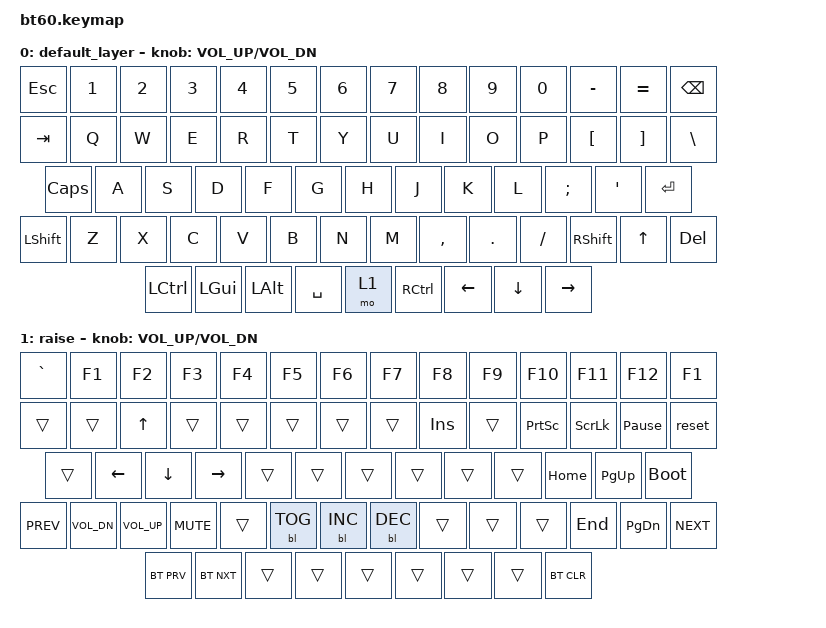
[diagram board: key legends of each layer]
#include <behaviors.dtsi>
#include <dt-bindings/zmk/keys.h>
#include <dt-bindings/zmk/bt.h>
#include <dt-bindings/zmk/backlight.h>

/ {
	keymap {
		compatible = "zmk,keymap";

		default_layer {
				// ------------------------------------------------------------------------------------------
				// | ESC |  1  |  2  |  3  |  4  |  5  |  6  |  7  |  8  |  9  |  0  |  -  |  =  |   BKSP   |
				// | TAB  |  Q  |  W  |  E  |  R  |  T  |  Y  |  U  |  I  |  O  |  P  |  [  |  ]  |   "|"   |
				// | CAPS  |  A  |  S  |  D  |  F  |  G  |  H  |  J  |  K  |  L  |  ;  |  '  |     ENTER    |
				// |  SHIFT    |  Z  |  X  |  C  |  V  |  B  |  N  |  M  |  ,  |  .  | /   | SHFT | UP | 1  |
				// |  CTL  |  WIN  |  ALT  |            SPACE              | ALT | CTRL | LEFT | DOWN | RIGHT |
				// ------------------------------------------------------------------------------------------
			bindings = <
				&kp ESC &kp N1 &kp N2 &kp N3 &kp N4 &kp N5 &kp N6 &kp N7 &kp  N8   &kp  N9 &kp  N0  &kp MINUS &kp EQUAL &kp BSPC
				&kp TAB  &kp Q  &kp W  &kp E  &kp R  &kp T  &kp Y  &kp U  &kp  I    &kp  O  &kp  P   &kp LBKT &kp RBKT  &kp BSLH
				&kp CLCK  &kp A  &kp S  &kp D  &kp F  &kp G  &kp H  &kp J  &kp  K    &kp  L  &kp SEMI &kp SQT           &kp RET
				&kp LSHFT  &kp Z  &kp X  &kp C  &kp V  &kp B  &kp N  &kp M  &kp COMMA &kp DOT &kp FSLH    &kp RSHFT &kp UP   &kp DEL
				&kp LCTRL &kp LGUI &kp LALT            &kp SPACE                          &mo 1  &kp RCTRL &kp LEFT &kp DOWN &kp RIGHT
			>;
			sensor-bindings = <&inc_dec_kp C_VOL_UP C_VOL_DN>;
		};
		raise {
			bindings = <
				&kp GRAVE &kp F1 &kp F2 &kp F3 &kp F4 &kp F5 &kp F6 &kp F7 &kp  F8   &kp  F9 &kp  F10  &kp F11 &kp F12   &kp F1
				&trans &trans &kp UP &trans &trans &trans &trans &trans &kp INS &trans &kp PSCRN &kp SLCK &kp PAUSE_BREAK &reset
				&trans    &kp LEFT &kp DOWN &kp RIGHT &trans &trans &trans &trans &trans &trans &kp HOME  &kp PG_UP   &bootloader
				&kp C_PREV &kp C_VOL_DN &kp C_VOL_UP &kp C_MUTE &trans &bl BL_TOG &bl BL_INC &bl BL_DEC &trans &trans &trans &kp END &kp PG_DN  &kp C_NEXT
				&bt BT_PRV &bt BT_NXT  &trans              &trans                            &trans  &trans &trans   &trans &bt BT_CLR
			>;
			sensor-bindings = <&inc_dec_kp C_VOL_UP C_VOL_DN>;
		};
	};
};
